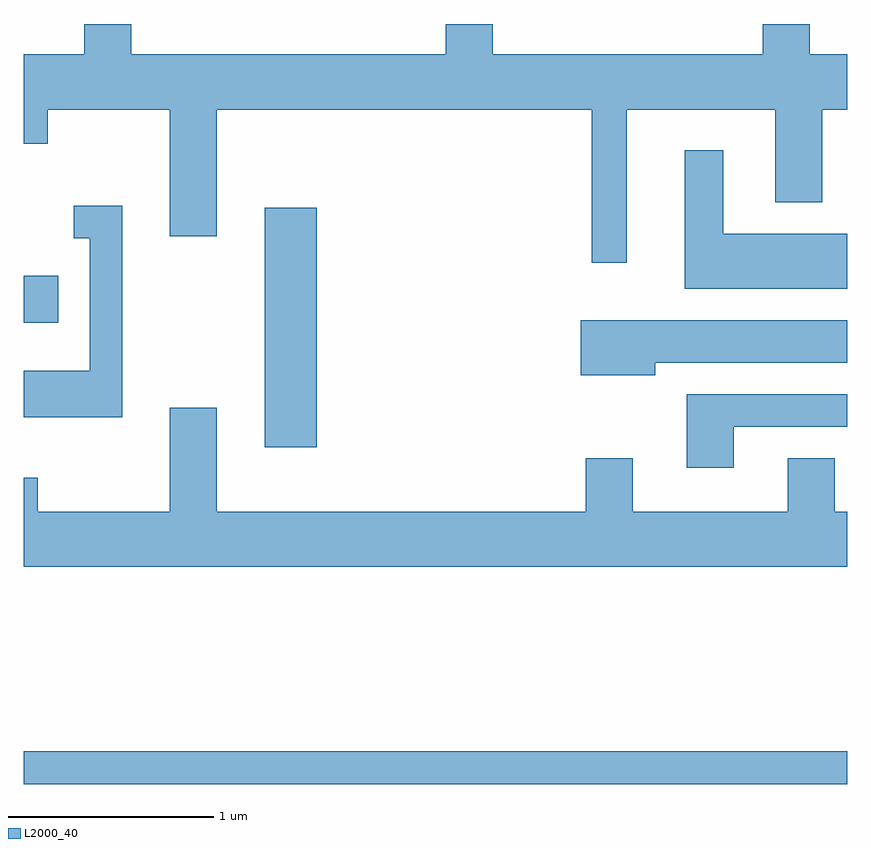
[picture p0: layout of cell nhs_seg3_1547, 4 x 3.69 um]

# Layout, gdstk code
import gdstk
lib = gdstk.Library(unit=1e-6, precision=1e-09)
def R(c, l, rs):  # rectangles x0, y0, x1, y1
    for r in rs: c.add(gdstk.rectangle(r[:2], r[2:], *l))
def P(c, l, *ps):  # polygons
    for p in ps: c.add(gdstk.Polygon(p, *l))
L2000_40 = (2000, 40)

nhs_seg3_1547 = lib.new_cell('nhs_seg3_1547')
R(nhs_seg3_1547, L2000_40, [(229.611,1218.201,233.611,1218.359), (230.781,1219.836,231.034,1220.999), (229.611,1220.441,229.779,1220.669)])
P(nhs_seg3_1547, L2000_40, [(232.539,1221.476),(233.261,1221.476),(233.261,1221.026),(233.489,1221.026),(233.489,1221.476),(233.611,1221.476),(233.611,1221.744),(233.429,1221.744),(233.429,1221.892),(233.201,1221.892),(233.201,1221.744),(231.889,1221.744),(231.889,1221.892),(231.661,1221.892),(231.661,1221.744),(230.134,1221.744),(230.134,1221.892),(229.906,1221.892),(229.906,1221.744),(229.611,1221.744),(229.611,1221.311),(229.729,1221.311),(229.729,1221.476),(230.321,1221.476),(230.321,1220.861),(230.549,1220.861),(230.549,1221.476),(232.371,1221.476),(232.371,1220.733),(232.539,1220.733)],
  [(233.611,1220.874),(233.009,1220.874),(233.009,1221.279),(232.821,1221.279),(232.821,1220.606),(233.611,1220.606)],
  [(230.089,1221.009),(229.853,1221.009),(229.853,1220.851),(229.931,1220.851),(229.931,1220.209),(229.611,1220.209),(229.611,1219.981),(230.089,1219.981)],
  [(232.679,1220.246),(233.611,1220.246),(233.611,1220.454),(232.316,1220.454),(232.316,1220.186),(232.679,1220.186)],
  [(233.059,1219.936),(233.611,1219.936),(233.611,1220.094),(232.831,1220.094),(232.831,1219.736),(233.059,1219.736)],
  [(233.611,1219.524),(233.549,1219.524),(233.549,1219.784),(233.321,1219.784),(233.321,1219.524),(232.569,1219.524),(232.569,1219.784),(232.341,1219.784),(232.341,1219.524),(230.549,1219.524),(230.549,1220.029),(230.321,1220.029),(230.321,1219.524),(229.679,1219.524),(229.679,1219.689),(229.611,1219.689),(229.611,1219.256),(233.611,1219.256)])

lib.write_gds('nhs_seg3_1547.gds')
